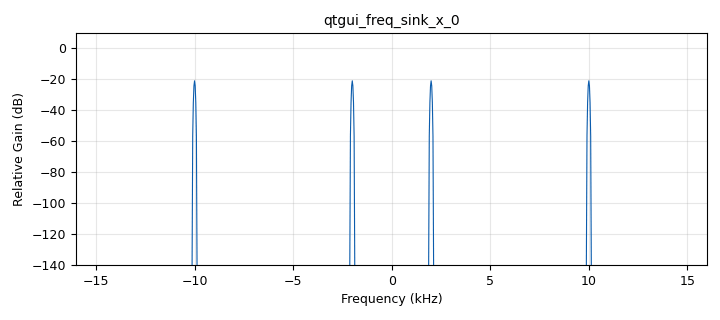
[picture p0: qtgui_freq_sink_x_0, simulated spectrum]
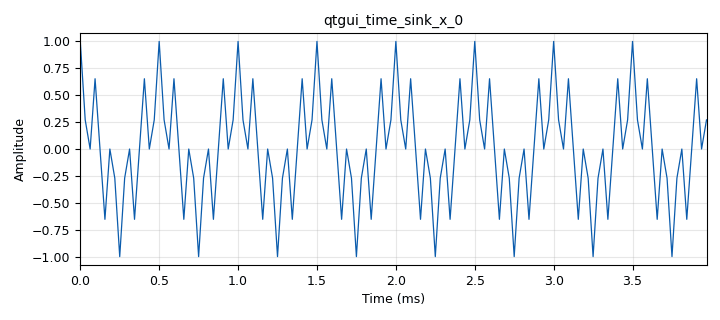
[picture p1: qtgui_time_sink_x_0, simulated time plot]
options:
  parameters:
    author: Dhrubjun
    generate_options: qt_gui
    id: exp1
    output_language: python
    title: 'Real Mixing: Sum and Difference Frequencies'
  states: {}

blocks:
- name: lo_freq
  id: variable_qtgui_range
  parameters:
    label: LO Frequency
    start: '1000'
    step: '500'
    stop: '7000'
    value: '4000'
  states: {}
- name: samp_rate
  id: variable
  parameters:
    value: '32000'
  states: {}
- name: analog_sig_source_x_0
  id: analog_sig_source_x
  parameters:
    amp: '1'
    freq: '6000'
    offset: '0'
    phase: '0'
    samp_rate: samp_rate
    type: float
    waveform: analog.GR_COS_WAVE
  states: {}
- name: analog_sig_source_x_0_0
  id: analog_sig_source_x
  parameters:
    amp: '1'
    freq: lo_freq
    offset: '0'
    phase: '0'
    samp_rate: samp_rate
    type: float
    waveform: analog.GR_COS_WAVE
  states: {}
- name: blocks_multiply_xx_0
  id: blocks_multiply_xx
  parameters:
    type: float
  states: {}
- name: blocks_throttle2_0
  id: blocks_throttle2
  parameters:
    samples_per_second: samp_rate
    type: float
  states: {}
- name: qtgui_freq_sink_x_0
  id: qtgui_freq_sink_x
  parameters:
    bw: samp_rate
    color1: '"red"'
    fc: '0'
    fftsize: '1024'
    grid: 'True'
    type: float
  states: {}
- name: qtgui_time_sink_x_0
  id: qtgui_time_sink_x
  parameters:
    grid: 'True'
    size: '128'
    srate: samp_rate
    type: float
  states: {}

connections:
- [analog_sig_source_x_0, '0', blocks_multiply_xx_0, '0']
- [analog_sig_source_x_0_0, '0', blocks_multiply_xx_0, '1']
- [blocks_multiply_xx_0, '0', blocks_throttle2_0, '0']
- [blocks_throttle2_0, '0', qtgui_freq_sink_x_0, '0']
- [blocks_throttle2_0, '0', qtgui_time_sink_x_0, '0']

metadata:
  file_format: 1
  grc_version: 3.10.12.0
